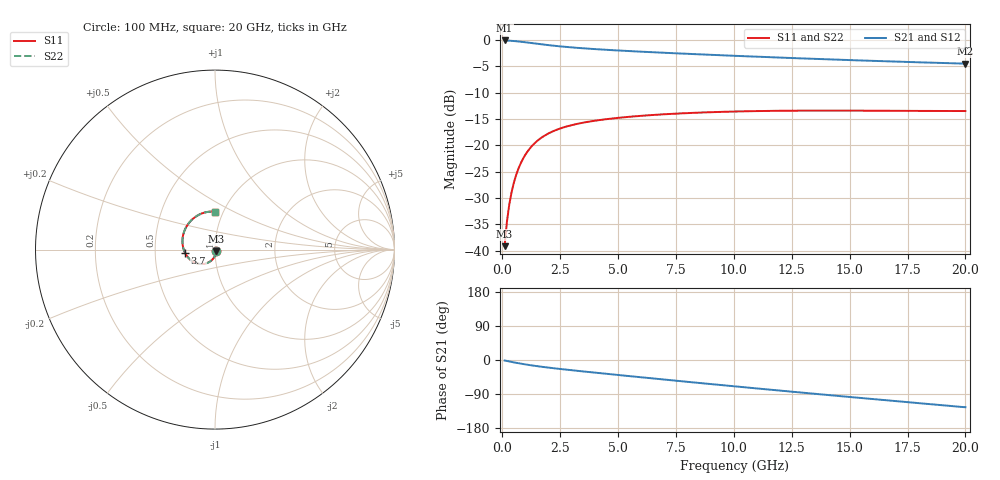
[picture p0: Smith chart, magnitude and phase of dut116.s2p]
! Touchstone file exported from HFSS 2023.1.0
!  File:  D:/Users/fzz/RDL_TSV/temp_RDL_TSV_116_1778750262.aedt
!  Generated:  5:26:48 %x4E0B%x5348  5%x6708 14, 2026
!  Design:  RDL_TSV
!  Project:  temp_RDL_TSV_116_1778750262
!  Setup:  Setup1
!  Solution:  Sweep
! Variables:
!  dtsv = 18.99um
!  hbump = 3um
!  htsv = 60.53um
!  ldown = 164.59um
!  lrdl = 218.3um
!  p = 40
!  p1 = 40.89um
!  rhole = 10um
!  subl = 1366.97um
!  t = 450um
!  tdown = 3.07um
!  trdl = 3.73um
!  viad = 10um
!  wdown = 29.43um
!  wrdl = 19.56um
!  xbump = 18um
# GHz S MA R 50.000000
! Terminal data exported
! Port[1] = TM1_1_T1
! Port[2] = TM1_4_T1
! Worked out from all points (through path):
!   200 points, 100 MHz to 20 GHz, reference 50 ohm
!   highest |S21| = -0.07 dB at 100 MHz (marker M1); lowest = -4.5 dB at 20 GHz (marker M2)
!   group delay of S21, straight-line fit = 16.4 ps
!   lowest |S11| = -39.1 dB at 100 MHz (marker M3), VSWR 1.02, Z = 50.6 - j0.914 ohm
!   |S11| at or under -10 dB: start of sweep to end of sweep
!   |S22| runs from -39.1 to -13.4 dB; largest |S21 - S12| = 1.7e-14
!   S11 on the Smith chart (normalised r, x): 100 MHz: 1.01, -0.02; 3.7 GHz: 0.71, -0.03; 20 GHz: 0.92, +0.41
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0.1  0.01107 -54.6  0.9925 -1.3  0.9925 -1.3  0.01107 -54.6
! Gamma 0 0 0 0
! Port Impedance 50 0 50 0
0.2  0.01887 -74.2  0.9906 -2.6  0.9906 -2.6  0.01887 -74.2
0.3  0.02737 -84.3  0.9879 -3.8  0.9879 -3.8  0.02737 -84.3
0.4  0.03597 -91.4  0.9845 -5.0  0.9845 -5.0  0.03596 -91.4
0.5  0.04442 -97.1  0.9804 -6.2  0.9804 -6.2  0.04442 -97.1
0.7  0.06052 -106.5  0.9708 -8.5  0.9708 -8.5  0.06051 -106.5
0.8  0.06804 -110.6  0.9654 -9.6  0.9654 -9.6  0.06804 -110.6
1  0.08195 -117.9  0.9537 -11.7  0.9537 -11.7  0.08195 -117.9
1.2  0.09431 -124.5  0.9415 -13.6  0.9415 -13.6  0.0943 -124.5
1.4  0.1052 -130.4  0.9293 -15.4  0.9293 -15.4  0.1052 -130.4
1.9  0.1268 -143.0  0.9007 -19.4  0.9007 -19.4  0.1268 -143.0
2.6  0.1474 -156.9  0.8678 -24.4  0.8678 -24.4  0.1474 -156.9
3.5  0.1647 -170.9  0.836 -30.2  0.836 -30.2  0.1647 -170.9
3.7  0.1677 -173.6  0.83 -31.5  0.83 -31.5  0.1677 -173.6
5.1  0.1838 169.8  0.7951 -40.2  0.7951 -40.2  0.1837 169.8
6.8  0.1966 153.4  0.7616 -50.5  0.7616 -50.5  0.1965 153.4
8.4  0.2047 140.3  0.7345 -60.0  0.7345 -60.0  0.2046 140.3
10.1  0.2102 128.4  0.7086 -69.9  0.7086 -69.9  0.2101 128.4
11.7  0.2131 118.8  0.6864 -79.1  0.6864 -79.1  0.213 118.8
13.4  0.2144 110.2  0.6648 -88.7  0.6648 -88.7  0.2142 110.2
16.7  0.2135 97.6  0.6282 -106.9  0.6282 -106.9  0.2133 97.6
20  0.2122 89.6  0.598 -124.7  0.598 -124.7  0.212 89.6
